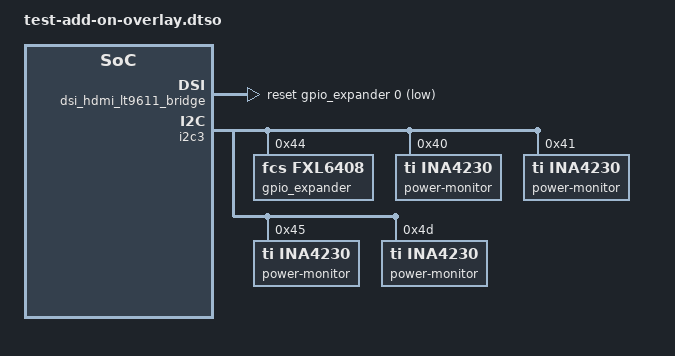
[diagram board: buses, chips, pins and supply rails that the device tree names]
// SPDX-License-Identifier: (GPL-2.0-only OR MIT)
/*
 * Copyright (C) 2026 Grinn sp. z o.o.
 */

/dts-v1/;
/plugin/;

#include <dt-bindings/gpio/gpio.h>
#include <dt-bindings/leds/common.h>

/ {
	compatible = "syna,sl2619-coralboard", "syna,sl2619";
};

&{/leds} {
	tst_led_blue: tst-led-blue {
		color = <LED_COLOR_ID_BLUE>;
		default-state = "off";
		function = LED_FUNCTION_STATUS;
		gpios = <&gpio_expander 6 GPIO_ACTIVE_HIGH>;
		label = "test-add-on-led-blue";
	};

	tst_led_green: tst-led-green {
		color = <LED_COLOR_ID_GREEN>;
		default-state = "on";
		function = LED_FUNCTION_STATUS;
		gpios = <&gpio_expander 5 GPIO_ACTIVE_HIGH>;
		label = "test-add-on-led-green";
	};

	tst_led_red: tst-led-red {
		color = <LED_COLOR_ID_RED>;
		default-state = "off";
		function = LED_FUNCTION_STATUS;
		gpios = <&gpio_expander 3 GPIO_ACTIVE_HIGH>;
		label = "test-add-on-led-red";
	};

	tst_led_yellow: tst-led-yellow {
		color = <LED_COLOR_ID_YELLOW>;
		default-state = "off";
		function = LED_FUNCTION_STATUS;
		gpios = <&gpio_expander 4 GPIO_ACTIVE_HIGH>;
		label = "test-add-on-led-yellow";
	};
};

&drm {
	dsi_hdmi_lt9611_bridge {
		compatible = "syna-bridge,lt9611";
		enable-gpio = <&gpio_expander 2 GPIO_ACTIVE_HIGH>;
		reset-gpio = <&gpio_expander 0 GPIO_ACTIVE_LOW>;
		i2c_bus = <3>;
	};

	dsi_panel {
		status = "okay";
		/*
		 * Neutralize the dsi panel settings inherited from
		 * sl261x-coralboard-common.dtsi. Standalone runtime overlays cannot
		 * delete base-tree properties, so overwrite the phandle properties
		 * with empty values instead.
		 */
		power-supply = <>;
		backlight = <>;
		compatible_panel = "";

		ACTIVE_WIDTH = <1920>;
		HFP = <88>;
		HSYNCWIDTH = <44>;
		HBP = <148>;
		ACTIVE_HEIGHT = <1080>;
		VFP = <4>;
		VSYNCWIDTH = <5>;
		VBP = <36>;
		FREQ = <148500>;
		PIXEL_CLOCK = <148500>;
		bits_per_pixel = <24>;
		busformat = <0>;

		HTOTAL = <2200>;
		Lanes = /bits/ 8 <4>;
		Vid_mode = /bits/ 8 <2>;
		virtual_chan = /bits/ 8 <0>;
		Clk_Lane_Polarity = /bits/ 8 <0>;
		Data_Lane_Polarity = /bits/ 8 <0>;
		Recv_ack = /bits/ 8 <0>;
		Loosely_18 = /bits/ 8 <0>;
		H_polarity = /bits/ 8 <1>;
		V_Polarity = /bits/ 8 <1>;
		Data_Polarity = /bits/ 8 <1>;
		Eotp_tx = /bits/ 8 <1>;
		Eotp_rx = /bits/ 8 <0>;
		non-Continuous_clk = /bits/ 8 <0>;
		dpi_lp_cmd = /bits/ 8 <1>;
		Color_coding = /bits/ 8 <5>;
		Chunks = <0>;
		Null_Pkt = <0>;
		Byte_clk = <148500>;

		command = /bits/ 8 <0xFF 0x10 0x27 0x00 0x00>;
	};
};

&i2c3 {
	#address-cells = <1>;
	#size-cells = <0>;

	ft5406: ts@38 {
		status = "disabled";
	};

	gpio_expander: gpio@44 {
		compatible = "fcs,fxl6408";
		reg = <0x44>;
		gpio-controller;
		#gpio-cells = <2>;
		gpio-line-names =
			"TST_HDMI_RSTn",
			"TST_TP1",
			"TST_HDMI_PWR_EN",
			"TST_LED_RED",
			"TST_LED_YELLOW",
			"TST_LED_GREEN",
			"TST_LED_BLUE",
			"TST_BUZZER";
	};

	power-monitor@40 {
		compatible = "ti,ina4230";
		reg = <0x40>;
		channel-labels = "VBAT", "VBOOST",
				 "SOM_5V", "TST_VBUS";
		shunt-resistor = <10000 10000 10000 10000>;
		shunt-gain = <4 1 1 4>;
	};

	power-monitor@41 {
		compatible = "ti,ina4230";
		reg = <0x41>;
		channel-labels = "20P_3V3", "20P_5V",
				 "CSI_3V3", "MB_5V";
		shunt-resistor = <100000 100000 100000 100000>;
		shunt-gain = <4 4 4 4>;
	};

	power-monitor@45 {
		compatible = "ti,ina4230";
		reg = <0x45>;
		channel-labels = "UNUSED", "20P_1V8",
				 "I3C_1V8", "MB_3V3";
		shunt-resistor = <100000 100000 100000 100000>;
		shunt-gain = <4 4 4 4>;
	};

	power-monitor@4d {
		compatible = "ti,ina4230";
		reg = <0x4d>;
		channel-labels = "VUSB_HOST", "SD_3V3",
				 "M2E_3V3", "QWIIC_3V3";
		shunt-resistor = <10000 100000 10000 100000>;
		shunt-gain = <1 1 1 4>;
	};

	rpi_panel_regulator: rpi_panel_regulator@45 {
		status = "disabled";
	};
};
